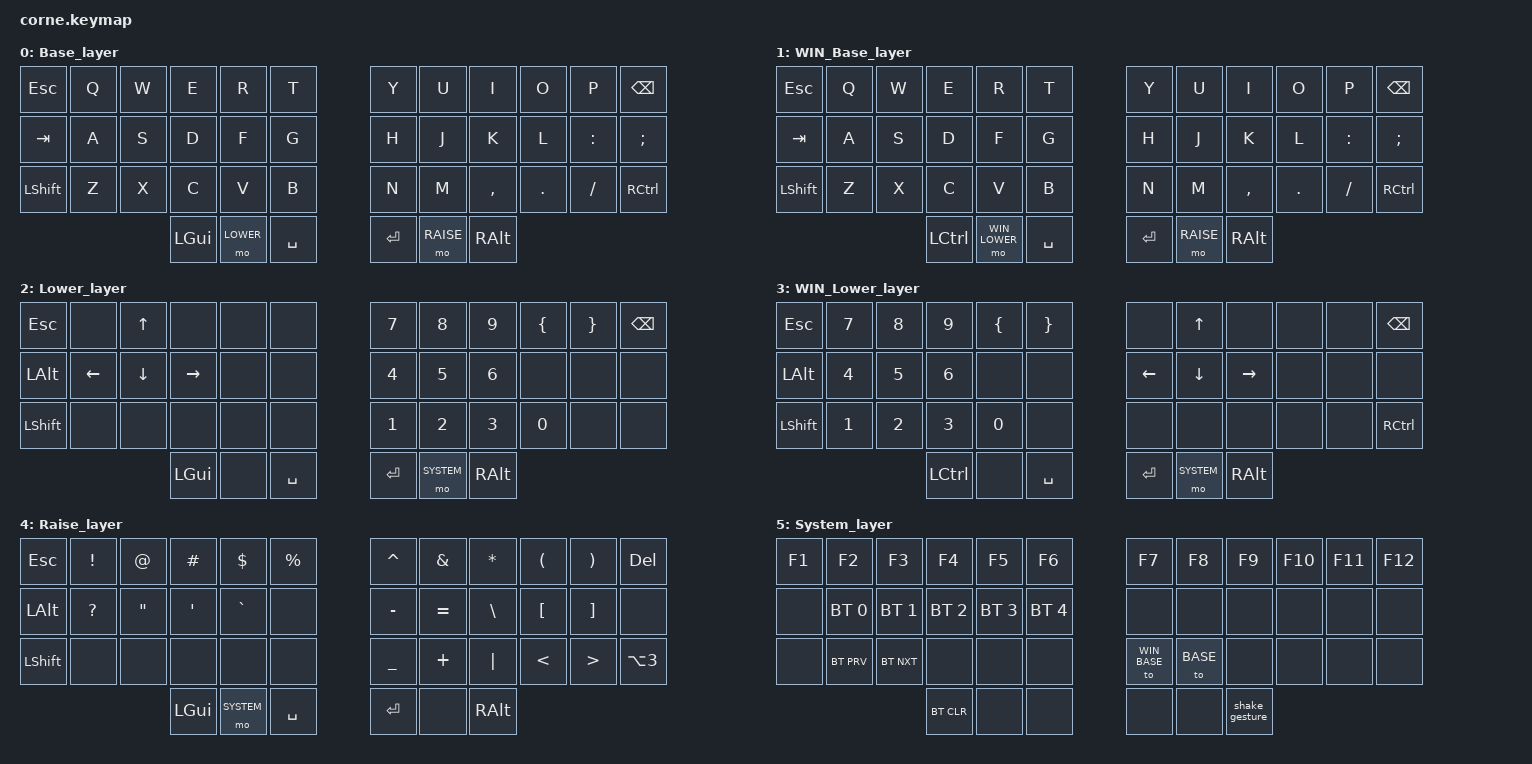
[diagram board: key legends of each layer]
#include <behaviors.dtsi>
#include <dt-bindings/zmk/keys.h>
#include <dt-bindings/zmk/bt.h>

#define BASE 0
#define WIN_BASE 1
#define LOWER 2
#define WIN_LOWER 3
#define RAISE 4
#define SYSTEM 5

/ {
  macros {
      shake_gesture: shake_gesture {
          compatible = "zmk,behavior-macro";
          #binding-cells = <0>;
          bindings
              = <&macro_press &kp LCTRL>
              , <&macro_press &kp LGUI>
              , <&macro_tap &kp Z>
              , <&macro_release &kp LGUI>
              , <&macro_release &kp LCTRL>
              ;
      };
  };

  keymap {
    compatible = "zmk,keymap";

    Base_layer {
      bindings = <
        &kp ESCAPE &kp Q &kp W &kp E &kp R &kp T &kp Y &kp U &kp I &kp O &kp P &kp BACKSPACE
         &kp TAB &kp A &kp S &kp D &kp F &kp G &kp H &kp J &kp K &kp L &kp COLON &kp SEMICOLON
          &kp LEFT_SHIFT &kp Z &kp X &kp C &kp V &kp B &kp N &kp M &kp COMMA &kp PERIOD &kp SLASH &kp RIGHT_CONTROL
          &kp LEFT_GUI &mo LOWER &kp SPACE &kp RETURN &mo RAISE &kp RALT
      >;
    };

    WIN_Base_layer {
      bindings = <
        &kp ESCAPE &kp Q &kp W &kp E &kp R &kp T &kp Y &kp U &kp I &kp O &kp P &kp BACKSPACE
         &kp TAB &kp A &kp S &kp D &kp F &kp G &kp H &kp J &kp K &kp L &kp COLON &kp SEMICOLON
          &kp LEFT_SHIFT &kp Z &kp X &kp C &kp V &kp B &kp N &kp M &kp COMMA &kp PERIOD &kp SLASH &kp RIGHT_CONTROL
          &kp LEFT_CONTROL &mo WIN_LOWER &kp SPACE &kp RETURN &mo RAISE &kp RALT
      >;
    };

    Lower_layer {
      bindings = <
        &kp ESCAPE &none &kp UP &none &none &none &kp NUMBER_7 &kp NUMBER_8 &kp NUMBER_9 &kp LEFT_BRACE &kp RIGHT_BRACE &kp BACKSPACE
         &kp LALT &kp LEFT &kp DOWN &kp RIGHT &none &none &kp NUMBER_4 &kp NUMBER_5 &kp NUMBER_6 &none &none &none
          &kp LEFT_SHIFT &none &none &none &none &none &kp NUMBER_1 &kp NUMBER_2 &kp NUMBER_3 &kp NUMBER_0 &none &none
          &kp LEFT_GUI &none &kp SPACE &kp RETURN &mo SYSTEM &kp RALT
      >;
    };

    WIN_Lower_layer {
      bindings = <
        &kp ESCAPE &kp NUMBER_7 &kp NUMBER_8 &kp NUMBER_9 &kp LEFT_BRACE &kp RIGHT_BRACE &none &kp UP &none &none &none &kp BACKSPACE
         &kp LALT &kp NUMBER_4 &kp NUMBER_5 &kp NUMBER_6 &none &none &kp LEFT &kp DOWN &kp RIGHT &none &none &none
          &kp LEFT_SHIFT &kp NUMBER_1 &kp NUMBER_2 &kp NUMBER_3 &kp NUMBER_0 &none &none &none &none &none &none &kp RIGHT_CONTROL
          &kp LEFT_CONTROL &none &kp SPACE &kp RETURN &mo SYSTEM &kp RALT
      >;
    };

    Raise_layer {
      bindings = <
        &kp ESCAPE &kp EXCLAMATION &kp AT_SIGN &kp HASH &kp DOLLAR &kp PERCENT &kp CARET &kp AMPERSAND &kp ASTERISK &kp LEFT_PARENTHESIS &kp RIGHT_PARENTHESIS &kp DEL
         &kp LALT &kp QUESTION &kp DOUBLE_QUOTES &kp SINGLE_QUOTE &kp GRAVE &none &kp MINUS &kp EQUAL &kp BACKSLASH &kp LEFT_BRACKET &kp RIGHT_BRACKET &none
          &kp LEFT_SHIFT &none &none &none &none &none &kp UNDERSCORE &kp PLUS &kp PIPE &kp LT &kp GT &kp LA(NUMBER_3)
           &kp LEFT_GUI &mo SYSTEM &kp SPACE &kp RETURN &none &kp RALT
      >;
    };

    System_layer {
      bindings = <
        &kp F1 &kp F2 &kp F3 &kp F4 &kp F5 &kp F6 &kp F7 &kp F8 &kp F9 &kp F10 &kp F11 &kp F12
         &none &bt BT_SEL 0 &bt BT_SEL 1 &bt BT_SEL 2 &bt BT_SEL 3 &bt BT_SEL 4 &none &none &none &none &none &none
          &none &bt BT_PRV &bt BT_NXT &none &none &none &to WIN_BASE &to BASE &none &none &none &none
           &bt BT_CLR &none &none &none &none &shake_gesture
      >;
    };

  };
};
